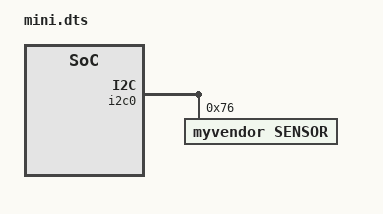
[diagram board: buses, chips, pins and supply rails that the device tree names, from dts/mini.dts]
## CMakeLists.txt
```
cmake_minimum_required(VERSION 3.20)

project(zephyr_mini C)
find_package(Python3 REQUIRED)

if(NOT DEFINED ENV{ZEPHYR_BASE})
    set(ZEPHYR_BASE ${CMAKE_CURRENT_LIST_DIR}/../zephyr)
else()
    set(ZEPHYR_BASE $ENV{ZEPHYR_BASE})
endif()
message(STATUS "Using Zephyr base: ${ZEPHYR_BASE}")

file(MAKE_DIRECTORY ${CMAKE_BINARY_DIR}/include/generated)

#
# Run GEN_EDT_SCRIPT.
#
# creates edt.pickle, which encodes the dts information with the bindings yaml (for tooling)
set(EDT_SCRIPT ${ZEPHYR_BASE}/scripts/dts/gen_edt.py)
set(DTS_INPUT ${CMAKE_CURRENT_SOURCE_DIR}/dts/mini.dts)
set(EDT_PICKLE ${CMAKE_BINARY_DIR}/edt.pickle)
set(DTS_OUT ${CMAKE_BINARY_DIR}/mini_out.dts)
set(BINDINGS_DIRS
  ${CMAKE_CURRENT_SOURCE_DIR}/dts/bindings
  # ${ZEPHYR_BASE}/dts/bindings
)
message(STATUS "Generating devicetree pickle")
execute_process(
  COMMAND ${Python3_EXECUTABLE} ${EDT_SCRIPT}
      --dts ${DTS_INPUT}
      --bindings-dirs ${BINDINGS_DIRS}
      --dts-out ${DTS_OUT}
      --edt-pickle-out ${EDT_PICKLE}
      --dtc-flags ""
  COMMAND_ERROR_IS_FATAL ANY
)

#
# Run GEN_DEFINES_SCRIPT.
#
# create devicetree_generated.h, which encodes the dts for C
set(DEF_SCRIPT ${ZEPHYR_BASE}/scripts/dts/gen_defines.py)
set(DT_HEADER_OUT ${CMAKE_BINARY_DIR}/include/generated/devicetree_generated.h)
message(STATUS "Generating devicetree_generated.h")
execute_process(
  COMMAND ${Python3_EXECUTABLE} ${DEF_SCRIPT}
      --edt-pickle ${EDT_PICKLE}
      --header-out ${DT_HEADER_OUT}
  COMMAND_ERROR_IS_FATAL ANY
)

#
# Run GEN_DRIVER_KCONFIG_SCRIPT.
#
# creates Kconfig.dts, which the top-level Kconfig includes for Kconfig
# (in Zephyr, Kconfig.zephyr -> dts/Kconfig -> ${BUILDDIR}/Kconfig.dts)
# TODO: where does most of the content of this file come from, must be the bindings yaml?
set(GEN_DRIVER_KCONFIG_SCRIPT ${ZEPHYR_BASE}/scripts/dts/gen_driver_kconfig_dts.py)
set(DTS_KCONFIG ${CMAKE_BINARY_DIR}/Kconfig.dts)
message(STATUS "Converting devicetree into Kconfig symbols")
execute_process(
  COMMAND ${Python3_EXECUTABLE} ${GEN_DRIVER_KCONFIG_SCRIPT}
      --kconfig-out ${DTS_KCONFIG}
      --bindings-dirs ${BINDINGS_DIRS}
  COMMAND_ERROR_IS_FATAL ANY
)

#
# Run GEN_DTS_CMAKE_SCRIPT.
#
set(GEN_DTS_CMAKE_SCRIPT        ${ZEPHYR_BASE}/scripts/dts/gen_dts_cmake.py)
# The generated information itself, which we include() after creating it.
set(DTS_CMAKE                   ${CMAKE_BINARY_DIR}/dts.cmake)

message(STATUS "Converting devicetree into CMake symbols")
execute_process(
  COMMAND ${PYTHON_EXECUTABLE} ${GEN_DTS_CMAKE_SCRIPT}
  --edt-pickle ${EDT_PICKLE}
  --cmake-out ${DTS_CMAKE}
  COMMAND_ERROR_IS_FATAL ANY
  )

include(${DTS_CMAKE})

# Run KCONFIG_SCRIPT
# 
set(KCONFIG_SCRIPT ${ZEPHYR_BASE}/scripts/kconfig/kconfig.py)
set(KCONFIG_INPUT ${CMAKE_CURRENT_SOURCE_DIR}/Kconfig)
set(KCONFIG_CONFIG_OUT ${CMAKE_BINARY_DIR}/.config)
set(KCONFIG_HEADER_OUT ${CMAKE_BINARY_DIR}/include/generated/autoconf.h)
set(KCONFIG_LIST_OUT ${CMAKE_BINARY_DIR}/sources.txt)
set(KCONFIG_CONF ${CMAKE_CURRENT_SOURCE_DIR}/prj.conf)

# kconfig.py and its library will check for this environment variable in order to generate the
# "CONFIG_DT_HAS_...." defines in .config. It is quite important for populating the .config with
# the devicetree hardware description
set(ENV{EDT_PICKLE} ${EDT_PICKLE})
execute_process(
  COMMAND ${CMAKE_COMMAND} -E env KCONFIG_BINARY_DIR=${CMAKE_BINARY_DIR}
  ${Python3_EXECUTABLE} ${KCONFIG_SCRIPT}
    ${KCONFIG_INPUT}
    ${KCONFIG_CONFIG_OUT}
    ${KCONFIG_HEADER_OUT}
    ${KCONFIG_LIST_OUT}
    ${KCONFIG_CONF}
  COMMAND_ERROR_IS_FATAL ANY
)

# --- Parse .config into CMake variables ---
# import_kconfig(<prefix> <kconfig_fragment> [<keys>] [TARGET <target>])
#
# Parse a KConfig fragment (typically with extension .config) and
# introduce all the symbols that are prefixed with 'prefix' into the
# CMake namespace. List all created variable names in the 'keys'
# output variable if present.
#
# <prefix>          : symbol prefix of settings in the Kconfig fragment.
# <kconfig_fragment>: absolute path to the config fragment file.
# <keys>            : output variable which will be populated with variable
#                     names loaded from the kconfig fragment.
# TARGET <target>   : set all symbols on <target> instead of adding them to the
#                     CMake namespace.
function(import_kconfig prefix kconfig_fragment)
  cmake_parse_arguments(IMPORT_KCONFIG "" "TARGET" "" ${ARGN})
  file(
    STRINGS
    ${kconfig_fragment}
    DOT_CONFIG_LIST
    ENCODING "UTF-8"
  )

  foreach (LINE ${DOT_CONFIG_LIST})
    if("${LINE}" MATCHES "^(${prefix}[^=]+)=([ymn]|.+$)")
      # Matched a normal value assignment, like: CONFIG_NET_BUF=y
      # Note: if the value starts with 'y', 'm', or 'n', then we assume it's a
      # bool or tristate (we don't know the type from <kconfig_fragment> alone)
      # and we only match the first character. This is to align with Kconfiglib.
      set(CONF_VARIABLE_NAME "${CMAKE_MATCH_1}")
      set(CONF_VARIABLE_VALUE "${CMAKE_MATCH_2}")
    elseif("${LINE}" MATCHES "^# (${prefix}[^ ]+) is not set")
      # Matched something like: # CONFIG_FOO is not set
      # This is interpreted as: CONFIG_FOO=n
      set(CONF_VARIABLE_NAME "${CMAKE_MATCH_1}")
      set(CONF_VARIABLE_VALUE "n")
    else()
      # Ignore this line.
      # Note: we also ignore assignments which don't have the desired <prefix>.
      continue()
    endif()

    # If the provided value is n, then the corresponding CMake variable or
    # target property will be unset.
    if("${CONF_VARIABLE_VALUE}" STREQUAL "n")
      if(DEFINED IMPORT_KCONFIG_TARGET)
        set_property(TARGET ${IMPORT_KCONFIG_TARGET} PROPERTY "${CONF_VARIABLE_NAME}")
      else()
        unset("${CONF_VARIABLE_NAME}" PARENT_SCOPE)
      endif()
      list(REMOVE_ITEM keys "${CONF_VARIABLE_NAME}")
      continue()
    endif()

    # Otherwise, the variable/property will be set to the provided value.
    # For string values, we also remove the surrounding quotation marks.
    if("${CONF_VARIABLE_VALUE}" MATCHES "^\"(.*)\"$")
      set(CONF_VARIABLE_VALUE ${CMAKE_MATCH_1})
    endif()

    if(DEFINED IMPORT_KCONFIG_TARGET)
      set_property(TARGET ${IMPORT_KCONFIG_TARGET} PROPERTY "${CONF_VARIABLE_NAME}" "${CONF_VARIABLE_VALUE}")
    else()
      set("${CONF_VARIABLE_NAME}" "${CONF_VARIABLE_VALUE}" PARENT_SCOPE)
    endif()
    list(APPEND keys "${CONF_VARIABLE_NAME}")
  endforeach()

  if(DEFINED IMPORT_KCONFIG_TARGET)
    set_property(TARGET ${IMPORT_KCONFIG_TARGET} PROPERTY "kconfigs" "${keys}")
  endif()

  list(LENGTH IMPORT_KCONFIG_UNPARSED_ARGUMENTS unparsed_length)
  if(unparsed_length GREATER 0)
    if(unparsed_length GREATER 1)
    # Two mandatory arguments and one optional, anything after that is an error.
      list(GET IMPORT_KCONFIG_UNPARSED_ARGUMENTS 1 first_invalid)
      message(FATAL_ERROR "Unexpected argument after '<keys>': import_kconfig(... ${first_invalid})")
    endif()
    set(${IMPORT_KCONFIG_UNPARSED_ARGUMENTS} "${keys}" PARENT_SCOPE)
  endif()
endfunction()

import_kconfig(CONFIG_ ${KCONFIG_CONFIG_OUT})

# --- Define the Application Executable ---
add_executable(app src/main.c)

if(CONFIG_DEMO_I2C_APP)
  message(STATUS "I2C Demo App is enabled by Kconfig, including source file.")
  target_sources(app PRIVATE src/demo_i2c_app.c)
else()
  message(STATUS "I2C Demo App is disabled by Kconfig.")
endif()

target_include_directories(app PRIVATE
  ${CMAKE_CURRENT_SOURCE_DIR}/include
  ${CMAKE_BINARY_DIR}/include/generated
)
```

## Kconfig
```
mainmenu "Fake zephyr Configuration"

menu "Devicetree Info"

osource "${KCONFIG_BINARY_DIR}/Kconfig.dts"

endmenu

menu "Applications"

config DEMO_I2C_APP
    bool "Enable I2C Demo App"
    default y if $(dt_compat_enabled,$(DT_HAS_MYVENDOR_SENSOR_ENABLED))

endmenu
```

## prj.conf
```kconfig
CONFIG_DEMO_I2C_APP=y
```

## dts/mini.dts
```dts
/dts-v1/;

/ {
    compatible = "myvendor,miniboard";

    #address-cells = <1>;
    #size-cells = <1>;

    i2c0: i2c@40003000 {
        compatible = "myvendor,i2c-controller";
        reg = <0x40003000 0x1000>; // <- must match #address-cells/#size-cells
        status = "okay";

        #address-cells = <1>;
        #size-cells = <0>;

        sensor@76 {
            compatible = "myvendor,sensor";
            reg = <0x76>;
            status = "okay";
        };
    };
};
```

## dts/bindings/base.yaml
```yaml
# Common fields for all devices

properties:
  status:
    type: string
    description: |
      Indicates the operational status of the hardware or other
      resource that the node represents. In particular:

        - "okay" means the resource is operational and, for example,
          can be used by device drivers
        - "disabled" means the resource is not operational and the system
          should treat it as if it is not present

      For details, see "2.3.4 status" in Devicetree Specification v0.4.
    enum:
      - "ok" # Deprecated form
      - "okay"
      - "disabled"
      - "reserved"
      - "fail"
      - "fail-sss"

  compatible:
    type: string-array
    required: true
    description: |
      This property is a list of strings that essentially define what
      type of hardware or other resource this devicetree node
      represents. Each device driver checks for specific compatible
      property values to find the devicetree nodes that represent
      resources that the driver should manage.

      The recommended format is "vendor,device", The "vendor" part is
      an abbreviated name of the vendor. The "device" is usually from
      the datasheet.

      The compatible property can have multiple values, ordered from
      most- to least-specific. Having additional values is useful when the
      device is a specific instance of a more general family, to allow the
      system to match the most specific driver available.

      For details, see "2.3.1 compatible" in Devicetree Specification v0.4.

  reg:
    type: array
    description: |
      Information used to address the device. The value is specific to
      the device (i.e. is different depending on the compatible
      property).

      The "reg" property is typically a sequence of (address, length) pairs.
      Each pair is called a "register block". Values are
      conventionally written in hex.

      For details, see "2.3.6 reg" in Devicetree Specification v0.4.

  reg-names:
    type: string-array
    description: |
      Optional names given to each register block in the "reg" property.
      For example:

        / {
             soc {
                 #address-cells = <1>;
                 #size-cells = <1>;

                 uart@1000 {
                     reg = <0x1000 0x2000>, <0x3000 0x4000>;
                     reg-names = "foo", "bar";
                 };
             };
        };

      The uart@1000 node has two register blocks:

        - one with base address 0x1000, size 0x2000, and name "foo"
        - another with base address 0x3000, size 0x4000, and name "bar"

  # description of label should be given in bindings inheriting base.yaml
  # label property is included here to help enforce its type being string
  label:
    type: string
    description: |
      Human readable string describing the device. Use of this property is
      deprecated except as needed on a case-by-case basis.

      For details, see "4.1.2 Miscellaneous Properties" in Devicetree
      Specification v0.4.

  clocks:
    type: phandle-array
    description: |
      Information about the device's clock providers. In general, this property
      should follow conventions established in the dt-schema binding:

        https://github.com/devicetree-org/dt-schema/blob/main/dtschema/schemas/clock/clock.yaml

  clock-names:
    type: string-array
    description: |
      Optional names given to each clock provider in the "clocks" property.

  "#address-cells":
    type: int
    description: |
      This property encodes the number of <u32> cells used by address fields
      in "reg" properties in this node's children.

      For details, see "2.3.5 #address-cells and #size-cells" in Devicetree
      Specification v0.4.

  "#size-cells":
    type: int
    description: |
      This property encodes the number of <u32> cells used by size fields in
      "reg" properties in this node's children.

      For details, see "2.3.5 #address-cells and #size-cells" in Devicetree
      Specification v0.4.

  dmas:
    type: phandle-array
    description: |
      DMA channel specifiers relevant to the device.

  dma-names:
    type: string-array
    description: |
      Optional names given to the DMA channel specifiers in the "dmas" property.

  io-channels:
    type: phandle-array
    description: |
      IO channel specifiers relevant to the device.

  io-channel-names:
    type: string-array
    description: |
      Optional names given to the IO channel specifiers in the "io-channels" property.

  mboxes:
    type: phandle-array
    description: |
      Mailbox / IPM channel specifiers relevant to the device.
    specifier-space: mbox

  mbox-names:
    type: string-array
    description: |
      Optional names given to the mbox specifiers in the "mboxes" property.

  power-domains:
    type: phandle-array
    description: |
      Power domain specifiers relevant to the device.

  power-domain-names:
    type: string-array
    description: |
      Optional names given to the power domain specifiers in the "power-domains" property.

  "#power-domain-cells":
    type: int
    description: |
      Number of cells in power-domains property

  zephyr,deferred-init:
    type: boolean
    description: |
      Do not initialize device automatically on boot. Device should be manually
      initialized using device_init().
```

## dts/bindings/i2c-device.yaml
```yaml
# Copyright (c) 2017, Linaro Limited
# SPDX-License-Identifier: Apache-2.0

# Common fields for I2C devices

include: [base.yaml]

on-bus: i2c

properties:
  reg:
    required: true
    description: device address on i2c bus
```

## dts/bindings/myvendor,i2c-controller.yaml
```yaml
compatible: "myvendor,i2c-controller"
description: "Minimal I2C controller for demo"
include: base.yaml

properties:
  reg:
    type: array
    required: true
```

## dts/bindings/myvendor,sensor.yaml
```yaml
compatible: "myvendor,sensor"
description: "Minimal I2C device for demo"
include: i2c-device.yaml
```

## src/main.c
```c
#include <stdio.h>
#include <autoconf.h>
#include "devicetree.h"

extern void demo_i2c_app_run(void);

int main(void) {
    printf("System booting...\n");

#ifdef CONFIG_DEMO_I2C_APP
    demo_i2c_app_run();
#endif

    return 0;
}
```

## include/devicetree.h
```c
#pragma once
#include "devicetree_generated.h"

// Zephyr places all of the DT_... macros in a file like this. The devicetree_generated.h file is
// the device tree in C header file form, and the library here allows applications to query it.
```

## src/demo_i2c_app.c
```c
#include <stdio.h>
#include "devicetree.h"

void demo_i2c_app_run(void) {
    printf("I2C demo running. Sensor is detected at address 0x%X\n",
            DT_N_S_i2c_40003000_S_sensor_76_REG_IDX_0_VAL_ADDRESS);
    // In Zephyr, we would use the devicetree.h API to query the address, which uses
    // preprocessor defines to resolve this:
    //       DT_REG_ADDR(DT_NODELABEL(sensor_76)));
    // which then resolves into something that like DT_N_S_i2c_40003000_S_sensor_76_P_reg.
}
```
